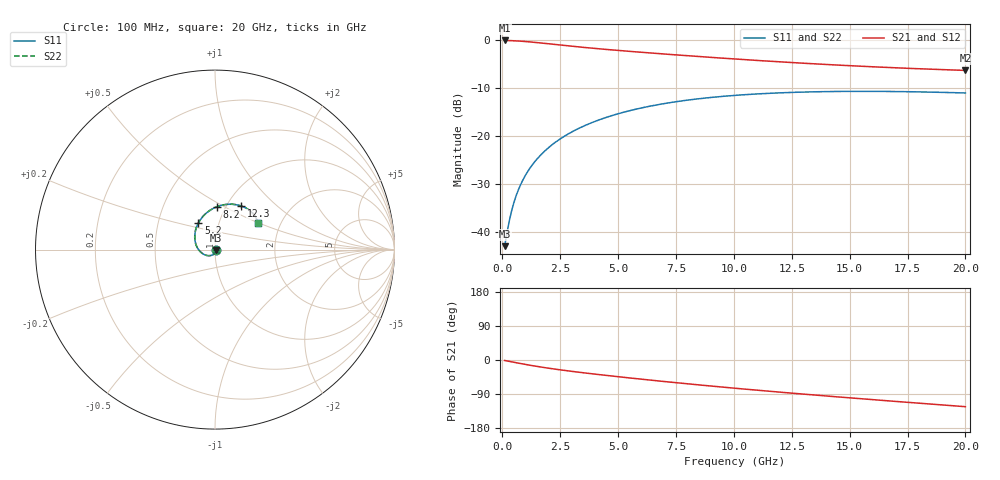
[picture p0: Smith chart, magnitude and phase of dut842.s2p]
! Touchstone file exported from HFSS 2024.1.0
!  File:  C:/UserFiles/LocalFiles/RDL_TSV_Batchsim/temp_RDL_TSV_842_1779920575.aedt
!  Generated:  06:42:47 AM May 28, 2026
!  Design:  RDL_TSV
!  Project:  temp_RDL_TSV_842_1779920575
!  Setup:  Setup1
!  Solution:  Sweep
! Variables:
!  dtsv = 8.12um
!  hbump = 3um
!  htsv = 97.87um
!  ldown = 302.26um
!  lrdl = 108.65um
!  p = 40
!  p1 = 51.59um
!  rhole = 10um
!  subl = 1341.38um
!  t = 450um
!  tdown = 3.55um
!  trdl = 4.87um
!  viad = 10um
!  wdown = 28.52um
!  wrdl = 25.63um
!  xbump = 18um
# GHz S MA R 50.000000
! Terminal data exported
! Port[1] = TM1_1_T1
! Port[2] = TM1_4_T1
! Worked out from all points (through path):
!   200 points, 100 MHz to 20 GHz, reference 50 ohm
!   highest |S21| = -0.06 dB at 100 MHz (marker M1); lowest = -6.3 dB at 20 GHz (marker M2)
!   group delay of S21, straight-line fit = 16.1 ps
!   lowest |S11| = -43.1 dB at 100 MHz (marker M3), VSWR 1.01, Z = 50.6 - j0.399 ohm
!   |S11| at or under -10 dB: start of sweep to end of sweep
!   |S22| runs from -43.1 to -10.7 dB; largest |S21 - S12| = 9.7e-15
!   S11 on the Smith chart (normalised r, x): 100 MHz: 1.01, -0.01; 5.2 GHz: 0.80, +0.25; 8.2 GHz: 0.91, +0.46; 12.3 GHz: 1.17, +0.62; 20 GHz: 1.53, +0.49
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0.1  0.007028 -34.1  0.9936 -1.2  0.9936 -1.2  0.007028 -34.1
! Gamma 0 0 0 0
! Port Impedance 50 0 50 0
0.3  0.01283 -72.3  0.9908 -3.7  0.9908 -3.7  0.01283 -72.3
0.4  0.01636 -83.3  0.9887 -4.9  0.9887 -4.9  0.01636 -83.3
0.5  0.02002 -92.0  0.9863 -6.0  0.9863 -6.0  0.02002 -92.0
0.6  0.02374 -99.4  0.9834 -7.2  0.9834 -7.2  0.02374 -99.5
0.8  0.03123 -112.0  0.9766 -9.5  0.9766 -9.5  0.03123 -112.0
1.1  0.04247 -127.8  0.9639 -12.8  0.9639 -12.8  0.04248 -127.8
1.3  0.04991 -137.1  0.9543 -14.9  0.9543 -14.9  0.04992 -137.1
1.5  0.05728 -145.6  0.944 -16.9  0.944 -16.9  0.05729 -145.7
1.8  0.0682 -157.4  0.9278 -19.8  0.9278 -19.8  0.06821 -157.4
2.1  0.07892 -168.1  0.9115 -22.6  0.9115 -22.6  0.07894 -168.1
2.7  0.09972 173.2  0.8797 -27.6  0.8797 -27.6  0.09976 173.2
3.5  0.126 153.0  0.8414 -33.7  0.8414 -33.7  0.1261 153.0
4.3  0.1504 136.6  0.8079 -39.4  0.8079 -39.4  0.1505 136.6
5.2  0.1755 121.7  0.7745 -45.4  0.7745 -45.4  0.1756 121.6
6.8  0.2135 101.0  0.7227 -55.6  0.7227 -55.6  0.2137 101.0
8.2  0.2397 87.0  0.6827 -64.0  0.6827 -64.0  0.2399 87.0
10.1  0.2655 72.1  0.6347 -74.8  0.6347 -74.8  0.2658 72.1
12.3  0.2835 58.8  0.5876 -86.5  0.5876 -86.5  0.2837 58.8
13.4  0.2884 53.3  0.5673 -92.0  0.5673 -92.0  0.2887 53.3
16.7  0.2911 40.4  0.518 -108.0  0.518 -108.0  0.2914 40.4
20  0.2807 31.7  0.4833 -123.2  0.4833 -123.2  0.281 31.8
